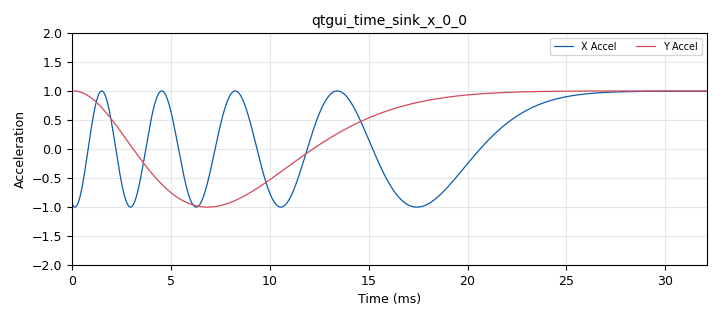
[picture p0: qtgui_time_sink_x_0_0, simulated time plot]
options:
  parameters:
    generate_options: qt_gui
    id: top_block
    output_language: python
  states: {}

blocks:
- name: samp_rate
  id: variable
  parameters:
    value: '32000'
  states: {}
- name: analog_sig_source_x_0
  id: analog_sig_source_x
  parameters:
    amp: '10'
    freq: '5'
    offset: '0'
    phase: '0'
    samp_rate: samp_rate
    type: float
    waveform: analog.GR_COS_WAVE
  states: {}
- name: analog_sig_source_x_0_0
  id: analog_sig_source_x
  parameters:
    amp: '10'
    freq: '3'
    offset: '0'
    phase: '0'
    samp_rate: samp_rate
    type: float
    waveform: analog.GR_COS_WAVE
  states: {}
- name: analog_sig_source_x_0_0_0
  id: analog_sig_source_x
  parameters:
    amp: '10'
    freq: '1'
    offset: '0'
    phase: '0'
    samp_rate: samp_rate
    type: float
    waveform: analog.GR_COS_WAVE
  states: {}
- name: audio_sink_0
  id: audio_sink
  parameters:
    num_inputs: '2'
    samp_rate: samp_rate
  states: {}
- name: blocks_multiply_xx_0
  id: blocks_multiply_xx
  parameters:
    type: float
  states: {}
- name: blocks_multiply_xx_0_0
  id: blocks_multiply_xx
  parameters:
    type: float
  states: {}
- name: blocks_vco_f_0
  id: blocks_vco_f
  parameters:
    amplitude: '1'
    samp_rate: samp_rate
    sensitivity: '50'
  states: {}
- name: blocks_vco_f_0_0
  id: blocks_vco_f
  parameters:
    amplitude: '1'
    samp_rate: samp_rate
    sensitivity: '50'
  states: {}
- name: qtgui_time_sink_x_0_0
  id: qtgui_time_sink_x
  parameters:
    ctrlpanel: 'True'
    label1: X Accel
    label2: Y Accel
    nconnections: '2'
    size: '1028'
    srate: samp_rate
    type: float
    update_time: '0.250'
    ylabel: '"Acceleration"'
    ymax: '2'
    ymin: '-2'
    yunit: '"g"'
  states: {}

connections:
- [analog_sig_source_x_0, '0', blocks_multiply_xx_0_0, '0']
- [analog_sig_source_x_0_0, '0', blocks_multiply_xx_0, '0']
- [analog_sig_source_x_0_0, '0', blocks_multiply_xx_0_0, '1']
- [analog_sig_source_x_0_0_0, '0', blocks_multiply_xx_0, '1']
- [blocks_multiply_xx_0, '0', blocks_vco_f_0_0, '0']
- [blocks_multiply_xx_0_0, '0', blocks_vco_f_0, '0']
- [blocks_vco_f_0, '0', audio_sink_0, '0']
- [blocks_vco_f_0, '0', qtgui_time_sink_x_0_0, '0']
- [blocks_vco_f_0_0, '0', audio_sink_0, '1']
- [blocks_vco_f_0_0, '0', qtgui_time_sink_x_0_0, '1']

metadata:
  file_format: 1
